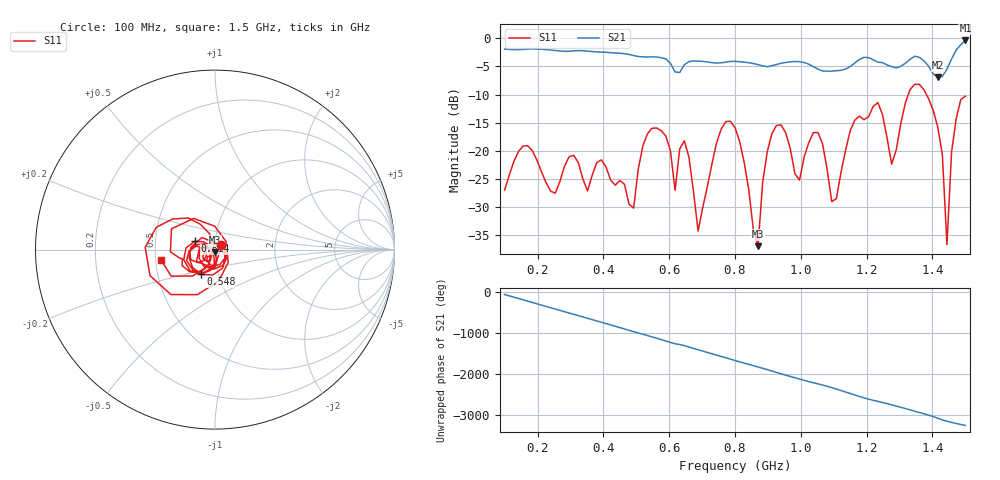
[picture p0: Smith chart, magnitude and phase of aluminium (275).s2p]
! NanoVNA-App
! Date: 2025-09-25 14:57:25
! Start: 100MHz Stop: 1,5GHz Points: 101
! S-Parameter data: F S11 S21 S12 S22
# Hz S RI R 50
!  Frequency  S11_Real  S11_Imag  S21_Real  S21_Imag  S12_Real  S12_Imag  S22_Real  S22_Imag
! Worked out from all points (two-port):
!   101 points, 100 MHz to 1.5 GHz, reference 50 ohm
!   highest |S21| = -0.39 dB at 1.5 GHz (marker M1); lowest = -7.0 dB at 1.416 GHz (marker M2)
!   |S21| within 3 dB of the highest: start of sweep to 569 MHz; 1.461 GHz to end of sweep (the widest 2 of 4)
!   lowest |S11| = -36.9 dB at 870 MHz (marker M3), VSWR 1.03, Z = 49.8 - j1.41 ohm
!   |S11| at or under -10 dB: start of sweep to 1.326 GHz; 1.382 GHz to end of sweep
!   S12 and S22 are empty: the file has one direction only
!   S11 on the Smith chart (normalised r, x): 100 MHz: 1.07, +0.06; 548 MHz: 0.82, -0.23; 814 MHz: 0.79, +0.07; 1.5 GHz: 0.53, -0.07
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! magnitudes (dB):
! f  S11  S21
! 100 MHz  -27.0  -1.9
! 338 MHz  -25.0  -2.2
! 492 MHz  -30.2  -3.1
! 548 MHz  -16.0  -3.3
! 576 MHz  -16.4  -3.5
! 618 MHz  -27.0  -6.0
! 646 MHz  -18.2  -4.7
! 688 MHz  -34.2  -4.1
! 800 MHz  -15.8  -4.1
! 814 MHz  -18.3  -4.2
! 870 MHz  -36.9  -4.7
! 912 MHz  -17.0  -4.9
! 996 MHz  -25.2  -4.2
! 1.038 GHz  -16.8  -5.0
! 1.094 GHz  -29.0  -5.8
! 1.234 GHz  -11.4  -4.3
! 1.276 GHz  -22.4  -5.0
! 1.346 GHz  -8.2  -3.2
! 1.416 GHz  -15.7  -7.0
! 1.444 GHz  -36.6  -5.5
! 1.458 GHz  -20.2  -3.7
! 1.5 GHz  -10.3  -0.4
